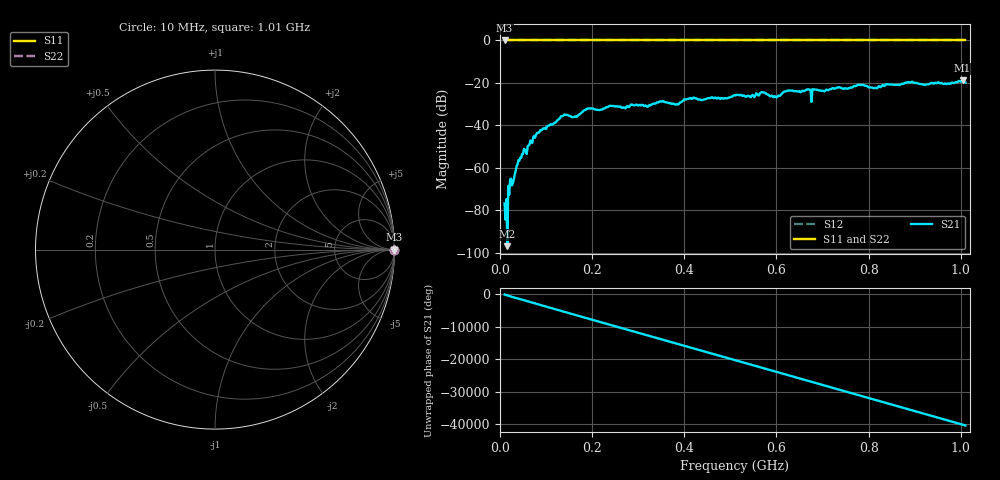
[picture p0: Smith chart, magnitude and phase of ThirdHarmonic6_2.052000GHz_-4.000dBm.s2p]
! 8/17/2025 12:35:47 AM
! C:\ANRITSUVNA\TEMP\TEMP.S2P
! CHANNEL.1
! TR.MEASUREMENT
! RAW.DATA
! RF.CORRECTION.OFF
! AVERAGING.OFF
! IF.BANDWIDTH: 5KHZ
! SWEEPTYPE:  FREQ.SWEEP(Linear)
! Reference Plane Port Info
! PORT:  PORT1  PORT2
! DISTANCE:  0  m  0  m
! TIME:  0  s  0  s
! PHASE.OFFSET:  0  deg.  0  deg.
! LOSS:  0  dB  0  dB
! REF.LOSS:  0  dB  0  dB
! REF.FREQ:  0  Hz  0  Hz
! Power Info
! POWER:  -20  dBm  -20  dBm
! EFF.POWER:  -20  dBm  -20  dBm
! SOURCE.ATTEN:  0  dB  0  dB
! TEST.ATTEN:  0  dB  0  dB
# GHZ S RI R 50.0
! FREQ.GHZ  S11RE  S11IM  S21RE  S21IM  S12RE  S12IM  S22RE  S22IM
!; PortSelection: Port_12
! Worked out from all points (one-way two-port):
!   501 points, 10 MHz to 1.01 GHz, reference 50 ohm
!   highest |S21| = -18.77 dB at 1.004 GHz (marker M1); lowest = -97.0 dB at 16 MHz (marker M2)
!   lowest |S11| = 0.0 dB at 10 MHz (marker M3)
!   |S11| at or under -10 dB: nowhere
!   |S22| runs from 0.0 to 0.0 dB; largest |S21 - S12| = 1.1
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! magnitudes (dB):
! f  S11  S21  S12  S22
! 10 MHz  0.0  -76.8  0.0  0.0
! 16 MHz  0.0  -97.0  0.0  0.0
! 22 MHz  0.0  -65.5  0.0  0.0
! 30 MHz  0.0  -65.5  0.0  0.0
! 40 MHz  0.0  -56.4  0.0  0.0
! 76 MHz  0.0  -45.9  0.0  0.0
! 136 MHz  0.0  -35.6  0.0  0.0
! 162 MHz  0.0  -36.0  0.0  0.0
! 178 MHz  0.0  -33.8  0.0  0.0
! 192 MHz  0.0  -32.0  0.0  0.0
! 318 MHz  0.0  -31.0  0.0  0.0
! 344 MHz  0.0  -29.2  0.0  0.0
! 384 MHz  0.0  -30.0  0.0  0.0
! 410 MHz  0.0  -27.5  0.0  0.0
! 510 MHz  0.0  -25.8  0.0  0.0
! 570 MHz  0.0  -24.5  0.0  0.0
! 598 MHz  0.0  -26.5  0.0  0.0
! 626 MHz  0.0  -23.6  0.0  0.0
! 678 MHz  0.0  -23.0  0.0  0.0
! 844 MHz  0.0  -20.8  0.0  0.0
! 1.004 GHz  0.0  -18.8  0.0  0.0
! 1.01 GHz  0.0  -19.8  0.0  0.0
